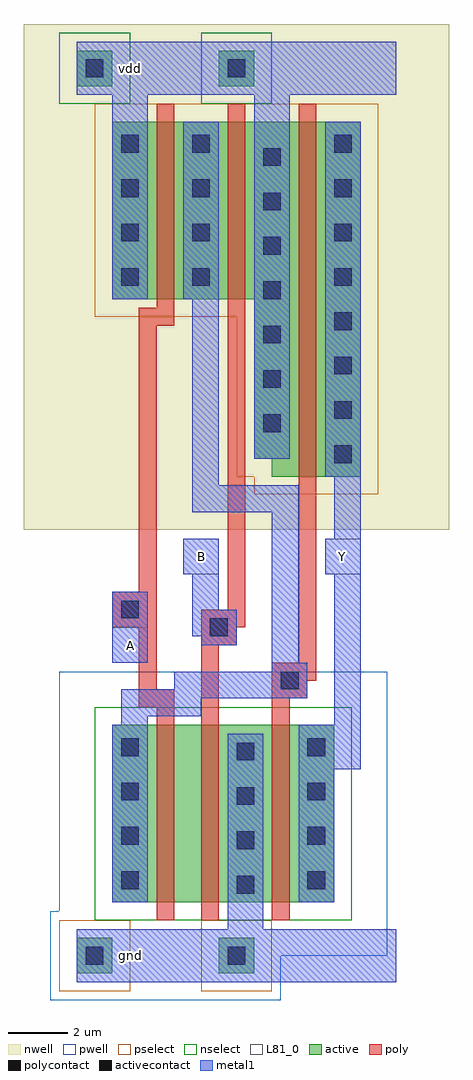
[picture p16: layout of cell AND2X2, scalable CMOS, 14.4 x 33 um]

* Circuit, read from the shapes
.subckt AND2X2 A B Y gnd vdd
M1 n1 A n2 gnd nfet w=6u l=0.6u
M2 gnd B n1 gnd nfet w=6u l=0.6u
M3 Y n2 gnd gnd nfet w=6u l=0.6u
M4 n2 A vdd vdd pfet w=6u l=0.6u
M5 vdd B n2 vdd pfet w=6u l=0.6u
M6 Y n2 vdd vdd pfet w=12u l=0.6u
.ends

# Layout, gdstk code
import gdstk
lib = gdstk.Library(unit=1e-6, precision=1e-09)
def R(c, l, rs):  # rectangles x0, y0, x1, y1
    for r in rs: c.add(gdstk.rectangle(r[:2], r[2:], *l))
def A(c, l, x, y, w, h, nx, ny, dx, dy):  # array of equal rectangles
    R(c, l, [(x+i*dx, y+j*dy, x+i*dx+w, y+j*dy+h) for i in range(nx) for j in range(ny)])
pwell = (41, 0)
nwell = (42, 0)
active = (43, 0)
pselect = (44, 0)
nselect = (45, 0)
poly = (46, 0)
polycontact = (47, 0)
activecontact = (48, 0)
metal1 = (49, 0)
L81_0 = (81, 0)

and2x2 = lib.new_cell('AND2X2')
R(and2x2, pwell, [(-1.5,-1.5,6.3,0), (-1.5,0,9.9,1.5), (-1.2,1.5,9.9,9.6)])
R(and2x2, nwell, [(-2.4,14.4,12,31.5)])
R(and2x2, active, [(-0.6,-0.6,0.6,0.6), (4.2,-0.6,5.4,0.6), (0.6,1.8,8.1,7.8), (6,16.2,9,16.8), (5.4,16.8,9,22.2), (0.6,22.2,9,28.2), (-0.6,29.4,0.6,30.6), (4.2,29.4,5.4,30.6)])
R(and2x2, pselect, [(-1.2,-1.2,1.2,1.2), (3.6,-1.2,6,1.2), (5.4,15.6,9.6,16.2), (4.8,16.2,9.6,21.6), (0,21.6,9.6,28.8)])
R(and2x2, nselect, [(0,1.2,8.7,8.4), (-1.2,28.8,1.2,31.2), (3.6,28.8,6,31.2)])
R(and2x2, poly, [(2.1,1.2,2.7,8.4), (3.6,1.2,4.2,10.5), (6,1.2,6.6,8.7), (1.5,8.4,2.7,9), (6,8.7,7.2,9.3), (1.5,9,2.1,11.1), (6,9.3,7.5,9.9), (6.9,9.9,7.5,28.8), (3.6,10.5,4.8,11.1), (0.6,11.1,2.1,12.3), (3.6,11.1,5.1,11.7), (4.5,11.7,5.1,28.8), (1.5,12.3,2.1,21.3), (1.5,21.3,2.7,21.9), (2.1,21.9,2.7,28.8)])
R(and2x2, polycontact, [(6.3,9,6.9,9.6), (3.9,10.8,4.5,11.4), (0.9,11.4,1.5,12)])
A(and2x2, activecontact, 4.8, 2.1, 0.6, 0.6, 1, 4, 0, 1.5)
A(and2x2, activecontact, 0.9, 2.25, 0.6, 0.6, 1, 4, 0, 1.5)
A(and2x2, activecontact, 7.2, 2.25, 0.6, 0.6, 1, 4, 0, 1.5)
A(and2x2, activecontact, 8.1, 16.65, 0.6, 0.6, 1, 8, 0, 1.5)
A(and2x2, activecontact, 5.7, 17.7, 0.6, 0.6, 1, 7, 0, 1.5)
A(and2x2, activecontact, 0.9, 22.65, 0.6, 0.6, 1, 4, 0, 1.5)
A(and2x2, activecontact, 3.3, 22.65, 0.6, 0.6, 1, 4, 0, 1.5)
R(and2x2, activecontact, [(-0.3,-0.3,0.3,0.3), (4.5,-0.3,5.1,0.3), (-0.3,29.7,0.3,30.3), (4.5,29.7,5.1,30.3)])
R(and2x2, metal1, [(-0.6,-0.9,10.2,0.9), (4.5,0.9,5.7,7.5), (0.6,1.8,1.8,7.8), (6.9,1.8,8.1,6.3), (6.9,6.3,9,7.8), (0.9,7.8,1.8,8.1), (8.1,7.8,9,12.9), (0.9,8.1,3.6,8.7), (0.9,8.7,7.2,9), (2.7,9,7.2,9.6), (6,9.6,7.2,9.9), (0.6,9.9,1.8,12.3), (6,9.9,6.9,15), (3.6,10.5,4.8,10.8), (3.3,10.8,4.8,11.7), (3.3,11.7,4.2,12.9), (3,12.9,4.2,14.1), (7.8,12.9,9,14.1), (8.1,14.1,9,16.2), (3.3,15,6.9,15.9), (3.3,15.9,4.2,22.2), (7.8,16.2,9,28.2), (5.4,16.8,6.6,29.1), (0.6,22.2,1.8,29.1), (3,22.2,4.2,28.2), (-0.6,29.1,10.2,30.9)])
R(and2x2, L81_0, [(0.6,9.9,1.8,11.1), (3,12.9,4.2,14.1), (7.8,12.9,9,14.1)])
and2x2.add(gdstk.Label('vdd', (1.2,30), layer=49, texttype=0))
and2x2.add(gdstk.Label('gnd', (1.2,0), layer=49, texttype=0))
and2x2.add(gdstk.Label('A', (1.2,10.5), layer=49, texttype=0))
and2x2.add(gdstk.Label('B', (3.6,13.5), layer=49, texttype=0))
and2x2.add(gdstk.Label('Y', (8.4,13.5), layer=49, texttype=0))

lib.write_gds('AND2X2.gds')
